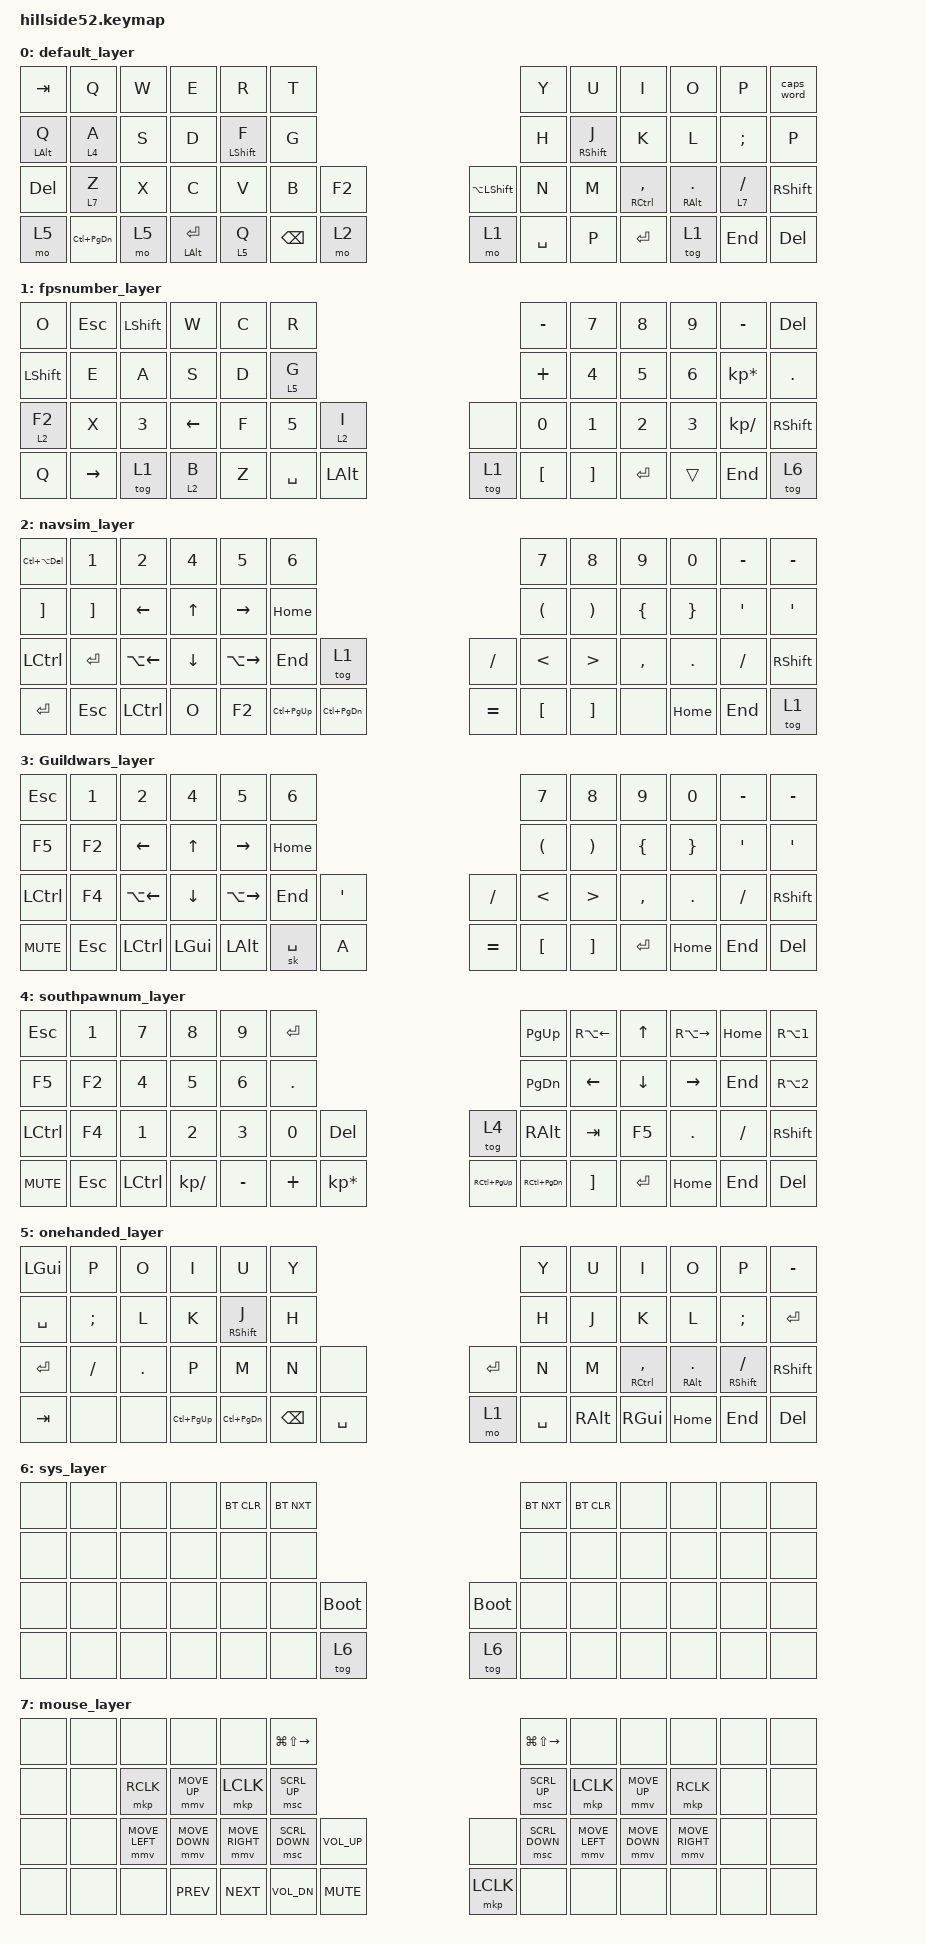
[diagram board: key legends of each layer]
/*
 * Copyright (c) 2021-2022 The ZMK Contributors
 *
 * SPDX-License-Identifier: MIT
 */

#include <behaviors.dtsi>
#include <dt-bindings/zmk/bt.h>
#include <dt-bindings/zmk/ext_power.h>
#include <dt-bindings/zmk/keys.h>
#include <dt-bindings/zmk/outputs.h>

#define ZMK_POINTING_DEFAULT_MOVE_VAL 1800  // default: 600
#define ZMK_POINTING_DEFAULT_SCRL_VAL 20    // default: 10

#include <dt-bindings/zmk/pointing.h>

/ {
        
 	combos {
        compatible = "zmk,combos";
        combo_PGUP {
            		timeout-ms = <50>;
            		key-positions = <2 3>;
            		layers = <0>;
            		bindings = <&kp PG_UP>;
        	};
		combo_RPGUP {
            		timeout-ms = <50>;
            		key-positions = <8 9>;
            		layers = <0>;
            		bindings = <&kp PG_UP>;
        	};
        combo_PGDN {
            		timeout-ms = <50>;
            		key-positions = <26 27>;
            		layers = <0>;
            		bindings = <&kp PG_DN>;
        	};
		combo_RPGDN {
            		timeout-ms = <50>;
            		key-positions = <34 35>;
            		layers = <0>;
            		bindings = <&kp PG_DN>;
        	};
        combo_home {
            		timeout-ms = <50>;
            		key-positions = <1 12>;
            		layers = <0>;
            		bindings = <&kp HOME>;
       		};
		combo_end {
            		timeout-ms = <50>;
            		key-positions = <13 24>;
            		layers = <0>;
            		bindings = <&kp END>;
       		};

       	combo_ctrl {
            		timeout-ms = <50>;
            		key-positions = <15 16>;
            		layers = <0>;
            		bindings = <&sk LCTL>;
        	};
		combo_RALT2 {
            		timeout-ms = <50>;
            		key-positions = <33 35>;
            		layers = <0>;
            		bindings = <&kp LA(N2)>;
       		};

       combo_esc {
            		timeout-ms = <50>;
            		key-positions = <28 29>;
            		layers = <0>;
            		bindings = <&kp ESC>;
        	};
		combo_Rhome {
            		timeout-ms = <50>;
            		key-positions = <10 23>;
            		layers = <0>;
            		bindings = <&kp HOME>;
        	};
		combo_Rend {
            		timeout-ms = <50>;
            		key-positions = <22 37>;
            		layers = <0>;
            		bindings = <&kp END>;
        	};
		combo_KTALT {
            		timeout-ms = <50>;
            		key-positions = <25 26 27 28>;
            		layers = <0>;
            		bindings = <&kt LALT>;
        	};

		combo_tabfwd {
            		timeout-ms = <50>;
            		key-positions = <27 28>;
            		layers = <0>;
            		bindings = <&kp LC(PG_DN)>;
        	};

		combo_tabbak {
            		timeout-ms = <50>;
            		key-positions = <25 26>;
            		layers = <0>;
            		bindings = <&kp LC(PG_UP)>;
        	};
	
        combo_win {
            		timeout-ms = <50>;
            		key-positions = <12 44>;
            		layers = <0>;
            		bindings = <&sk LGUI>;
        	};

	    combo_wintab {
            		timeout-ms = <50>;
            		key-positions = <6 7>;
            		layers = <1>;
            		bindings = <&kp RG(TAB)>;
        	};

	};

/* key position

0  1  2  3  4  5        	      6  7  8  9  10 11
12 13 14 15 16 17   	          18 19 20 21 22 23
24 25 26 27 28 29 30           31 32 33 34 35 36 37
38 39 40    41 42 43 44     45 46 47 48    49 50 51
*/


	keymap {
                compatible = "zmk,keymap";

                default_layer {

                        bindings = <
&kp  TAB      &kp  Q           &kp  W        &kp  E        &kp  R         &kp  T                                                                            &kp  Y        &kp  U        &kp  I             &kp  O             &kp  P                &caps_word
&mt  LALT Q   &lt  4 A         &kp  S        &kp  D        &mt  LSHFT  F  &kp  G                                                                            &kp  H        &mt  RSHFT J  &kp  K             &kp  L             &kp  SEMI             &kp  P
&kp  DEL      &lt  7 Z         &kp  X        &kp  C        &kp  V         &kp  B       &kp F2                                             &kp LA(LSHIFT)    &kp  N        &kp  M        &mt  RCTL COMMA    &mt  RALT DOT      &lt  7 FSLH           &kp  RSHFT
&mo  5        &kp  LC(PG_DN)   &mo  5                      &mt  LALT RET  &lt  5 Q     &kp BSPC    &mo 2                        &mo  1    &kp SPACE         &kp  P        &kp  RET                         &tog 1             &kp  END              &kp  DEL
                        >;
		};
		
	       fpsnumber_layer {

                        bindings = <
&kp  O        &kp  ESC      &kp  LSHIFT   &kp  W       &kp  C     &kp  R                                                                     &kp  MINUS    &kp  N7       &kp  N8       &kp  N9       &kp  MINUS           &kp  DEL
&kp  LSHIFT   &kp  E        &kp  A        &kp  S       &kp  D     &lt  5 G                                                                   &kp  PLUS     &kp  N4       &kp  N5       &kp  N6       &kp  KP_MULTIPLY     &kp  DOT
&lt  2 F2     &kp  X        &kp  N3       &kp LEFT     &kp  F     &kp  N5    &lt  2 I                                          &none         &kp  N0       &kp  N1       &kp  N2       &kp  N3       &kp  KP_DIVIDE       &kp  RSHFT
&kp  Q        &kp  RIGHT    &tog 1                     &lt 2  B   &kp  Z     &kp  SPACE    &kp LALT                  &tog 1    &kp  LBKT     &kp  RBKT     &kp  RET                    &trans        &kp  END             &tog 6
                        >;
		};

               navsim_layer {

                        bindings = <
&kp  LC(LA(DEL))  &kp  N1       &kp  N2       &kp  N4       &kp  N5        &kp  N6                                                                      &kp  N7       &kp  N8       &kp  N9       &kp  N0       &kp  MINUS    &kp  MINUS
&kp  RBKT         &kp  RBKT     &kp  LEFT     &kp  UP       &kp  RIGHT     &kp  HOME                                                                    &kp  LPAR     &kp  RPAR     &kp  LBRC     &kp  RBRC     &kp  APOS     &kp  SQT
&kp  LCTRL        &kp  RET      &kp  LA(LEFT) &kp  DOWN     &kp  LA(RIGHT) &kp  END    &tog 1                                             &kp  SLASH    &kp  LT       &kp  GT       &kp  COMMA    &kp  DOT      &kp  FSLH     &kp  RSHFT
&kp  RET          &kp  ESC      &kp  LCTRL                  &kp  O         &kp  F2     &kp  LC(PG_UP)  &kp LC(PG_DN)           &kp EQUAL  &kp  LBKT     &kp  RBKT     &none                       &kp  HOME     &kp  END      &tog 1
                        >;

                };
      
 	       Guildwars_layer {

                        bindings = <
&kp  ESC      &kp  N1       &kp  N2       &kp  N4       &kp  N5        &kp  N6                                                                          &kp  N7       &kp  N8       &kp  N9       &kp  N0       &kp  MINUS    &kp  MINUS
&kp  F5       &kp  F2       &kp  LEFT     &kp  UP       &kp  RIGHT     &kp  HOME                                                                        &kp  LPAR     &kp  RPAR     &kp  LBRC     &kp  RBRC     &kp  APOS     &kp  SQT
&kp  LCTRL    &kp  F4       &kp  LA(LEFT) &kp  DOWN     &kp  LA(RIGHT) &kp  END      &kp  SQT                                             &kp  SLASH    &kp  LT       &kp  GT       &kp  COMMA    &kp  DOT      &kp  FSLH     &kp  RSHFT
&kp  C_MUTE   &kp  ESC      &kp  LCTRL                  &kp  LGUI      &kp  LALT     &sk  SPACE    &kp A                       &kp EQUAL  &kp  LBKT     &kp  RBKT     &kp  RET                    &kp  HOME     &kp  END      &kp  DEL
                        >;

                };

		southpawnum_layer {

                        bindings = <
&kp  ESC      &kp  N1     &kp  N7       &kp  N8      &kp  N9         &kp  RET                                                                     &kp  PG_UP     &kp  RA(LEFT) &kp  UP     &kp  RA(RIGHT) &kp  HOME     &kp  RA(N1)
&kp  F5       &kp  F2     &kp  N4       &kp  N5      &kp  N6         &kp  DOT                                                                     &kp  PG_DN     &kp  LEFT     &kp  DOWN   &kp  RIGHT     &kp  END      &kp  RA(N2)
&kp  LCTRL    &kp  F4     &kp  N1       &kp  N2      &kp  N3         &kp  N0     &kp  DEL                                           &tog  4       &kp  RALT      &kp  TAB      &kp  F5     &kp  DOT       &kp  FSLH     &kp  RSHFT
&kp  C_MUTE   &kp  ESC    &kp  LCTRL                 &kp  KP_DIVIDE  &kp  MINUS  &kp  PLUS  &kp KP_MULTIPLY          &kp RC(PG_UP)  &kp RC(PG_DN) &kp  RBKT      &kp  RET                  &kp  HOME      &kp  END      &kp  DEL
                        >;

                };

		onehanded_layer {

                        bindings = <
&kp  LGUI        &kp  P           &kp  O        &kp  I        &kp U           &kp  Y                                                                  &kp  Y        &kp  U        &kp  I             &kp  O             &kp  P                &kp  MINUS
&kp  SPACE       &kp  SEMI        &kp  L        &kp  K        &mt RSHFT J     &kp  H                                                                  &kp  H        &kp  J        &kp  K             &kp  L             &kp  SEMI             &kp  RET
&kp  RET         &kp  FSLH        &kp  DOT      &kp  P        &kp M           &kp  N           &none                                    &kp  RET      &kp  N        &kp  M        &mt  RCTL COMMA    &mt  RALT DOT      &mt  RSHIFT  FSLH     &kp  RSHFT
&kp  TAB         &none            &none                       &kp  LC(PG_UP)  &kp LC(PG_DN)    &kp BSPC    &kp SPACE           &mo 1    &kp  SPACE    &kp  RALT     &kp  RGUI                        &kp  HOME          &kp  END              &kp  DEL
                        >;
		};

		sys_layer {

                        bindings = <
&none      &none     &none     &none    &bt  BT_CLR  &bt  BT_NXT                                                   &bt  BT_NXT  &bt  BT_CLR   &none   &none   &none  &none
&none      &none     &none     &none    &none        &none                                                         &none        &none         &none   &none   &none  &none
&none      &none     &none     &none    &none        &none       &bootloader                         &bootloader   &none        &none         &none   &none   &none  &none
&none      &none     &none              &none        &none       &none       &tog 6          &tog 6  &none         &none        &none                 &none   &none  &none
                        >;
		};

		mouse_layer {

                        bindings = <
&none      &none     &none          &none           &none            &kp LG(LS(RIGHT))                                              &kp LG(LS(RIGHT))  &none           &none          &none   		&none  &none
&none      &none     &mkp RCLK      &mmv MOVE_UP    &mkp LCLK        &msc SCRL_UP                                                   &msc SCRL_UP       &mkp LCLK       &mmv MOVE_UP   &mkp RCLK         &none  &none
&none      &none     &mmv MOVE_LEFT &mmv MOVE_DOWN  &mmv MOVE_RIGHT  &msc SCRL_DOWN  &kp C_VOL_UP                           &none   &msc SCRL_DOWN     &mmv MOVE_LEFT  &mmv MOVE_DOWN &mmv MOVE_RIGHT   &none  &none
&none      &none     &none                          &kp C_PREV       &kp C_NEXT      &kp C_VOL_DN  &kp C_MUTE    &mkp LCLK  &none   &none              &none                          &none             &none  &none
                        >;
		};

 	 };
};
